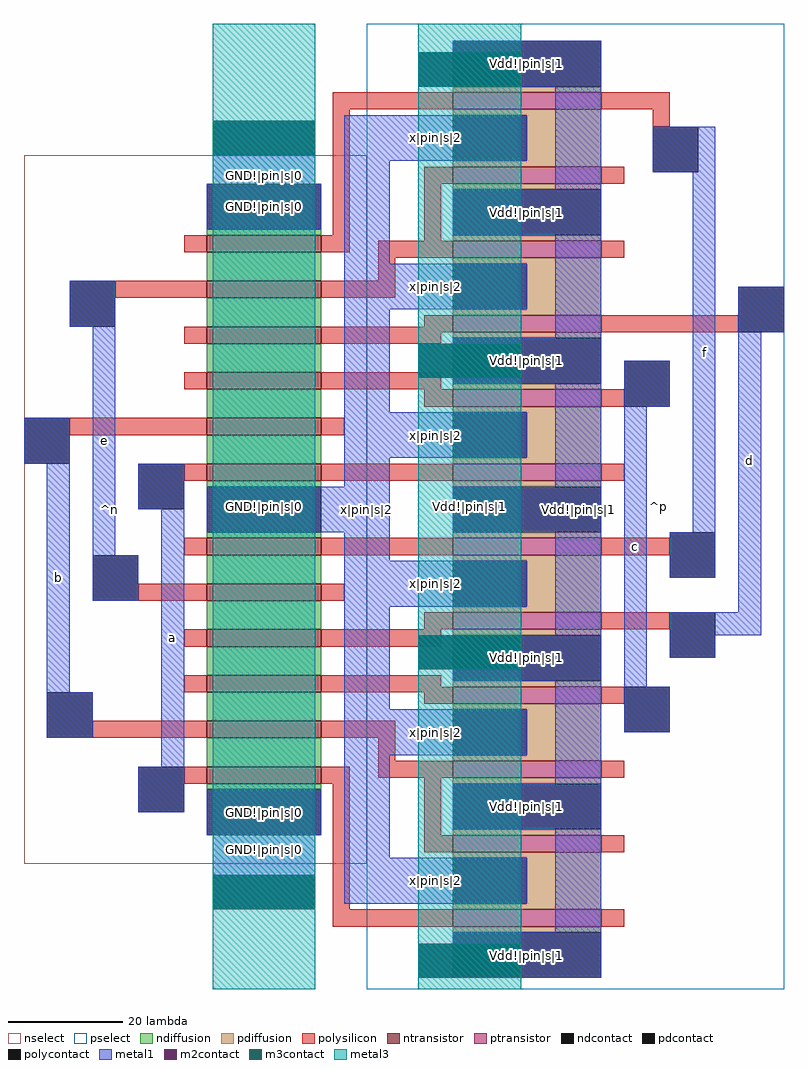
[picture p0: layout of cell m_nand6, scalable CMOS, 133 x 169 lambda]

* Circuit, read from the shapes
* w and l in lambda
.subckt m_nand6 GND!|pin|s|0 Vdd!|pin|s|1 a b c d e f x|pin|s|2
M1 n1 a GND!|pin|s|0 VSUBS nfet w=20 l=3
M2 n2 b n1 VSUBS nfet w=20 l=3
M3 n3 c n2 VSUBS nfet w=20 l=3
M4 n4 d n3 VSUBS nfet w=20 l=3
M5 n5 e n4 VSUBS nfet w=20 l=3
M6 x|pin|s|2 f n5 VSUBS nfet w=20 l=3
M7 n6 a x|pin|s|2 VSUBS nfet w=20 l=3
M8 n7 b n6 VSUBS nfet w=20 l=3
M9 n8 c n7 VSUBS nfet w=20 l=3
M10 n9 d n8 VSUBS nfet w=20 l=3
M11 n10 e n9 VSUBS nfet w=20 l=3
M12 GND!|pin|s|0 f n10 VSUBS nfet w=20 l=3
M13 x|pin|s|2 a Vdd!|pin|s|1 NWELL pfet w=26 l=3 m=2
M14 Vdd!|pin|s|1 b x|pin|s|2 NWELL pfet w=26 l=3 m=2
M15 Vdd!|pin|s|1 c x|pin|s|2 NWELL pfet w=26 l=3 m=2
M16 x|pin|s|2 d Vdd!|pin|s|1 NWELL pfet w=26 l=3 m=2
M17 Vdd!|pin|s|1 f x|pin|s|2 NWELL pfet w=26 l=3 m=2
M18 Vdd!|pin|s|1 e x|pin|s|2 NWELL pfet w=26 l=3 m=2
.ends

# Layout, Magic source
magic
tech scmos
<< nselect >>
rect -60 -815 0 -691
<< pselect >>
rect 0 -837 73 -668
<< ndiffusion >>
rect -28 -705 -8 -704
rect -28 -713 -8 -708
rect -28 -721 -8 -716
rect -28 -729 -8 -724
rect -28 -737 -8 -732
rect -28 -745 -8 -740
rect -28 -749 -8 -748
rect -28 -758 -8 -757
rect -28 -766 -8 -761
rect -28 -774 -8 -769
rect -28 -782 -8 -777
rect -28 -790 -8 -785
rect -28 -798 -8 -793
rect -28 -802 -8 -801
<< pdiffusion >>
rect 15 -680 41 -679
rect 15 -684 41 -683
rect 28 -692 41 -684
rect 15 -693 41 -692
rect 15 -697 41 -696
rect 15 -706 41 -705
rect 15 -710 41 -709
rect 28 -718 41 -710
rect 15 -719 41 -718
rect 15 -723 41 -722
rect 15 -732 41 -731
rect 15 -736 41 -735
rect 28 -744 41 -736
rect 15 -745 41 -744
rect 15 -749 41 -748
rect 15 -758 41 -757
rect 15 -762 41 -761
rect 28 -770 41 -762
rect 15 -771 41 -770
rect 15 -775 41 -774
rect 15 -784 41 -783
rect 15 -788 41 -787
rect 28 -796 41 -788
rect 15 -797 41 -796
rect 15 -801 41 -800
rect 15 -810 41 -809
rect 15 -814 41 -813
rect 28 -822 41 -814
rect 15 -823 41 -822
rect 15 -827 41 -826
<< ntransistor >>
rect -28 -708 -8 -705
rect -28 -716 -8 -713
rect -28 -724 -8 -721
rect -28 -732 -8 -729
rect -28 -740 -8 -737
rect -28 -748 -8 -745
rect -28 -761 -8 -758
rect -28 -769 -8 -766
rect -28 -777 -8 -774
rect -28 -785 -8 -782
rect -28 -793 -8 -790
rect -28 -801 -8 -798
<< ptransistor >>
rect 15 -683 41 -680
rect 15 -696 41 -693
rect 15 -709 41 -706
rect 15 -722 41 -719
rect 15 -735 41 -732
rect 15 -748 41 -745
rect 15 -761 41 -758
rect 15 -774 41 -771
rect 15 -787 41 -784
rect 15 -800 41 -797
rect 15 -813 41 -810
rect 15 -826 41 -823
<< polysilicon >>
rect -6 -683 15 -680
rect 41 -683 53 -680
rect -6 -705 -3 -683
rect 50 -686 53 -683
rect -32 -708 -28 -705
rect -8 -708 -3 -705
rect 10 -696 15 -693
rect 41 -696 45 -693
rect 10 -706 13 -696
rect 2 -709 15 -706
rect 41 -709 45 -706
rect 2 -713 5 -709
rect -44 -716 -28 -713
rect -8 -716 5 -713
rect 10 -721 15 -719
rect -32 -724 -28 -721
rect -8 -722 15 -721
rect 41 -722 65 -719
rect -8 -724 13 -722
rect -32 -732 -28 -729
rect -8 -732 13 -729
rect 10 -735 15 -732
rect 41 -735 45 -732
rect -52 -740 -28 -737
rect -8 -740 -4 -737
rect -32 -748 -28 -745
rect -8 -748 15 -745
rect 41 -748 45 -745
rect -32 -761 -28 -758
rect -8 -761 15 -758
rect 41 -761 53 -758
rect -40 -769 -28 -766
rect -8 -769 -4 -766
rect 10 -774 15 -771
rect 41 -774 53 -771
rect -32 -777 -28 -774
rect -8 -777 13 -774
rect -32 -785 -28 -782
rect -8 -784 13 -782
rect -8 -785 15 -784
rect 10 -787 15 -785
rect 41 -787 45 -784
rect -48 -793 -28 -790
rect -8 -793 5 -790
rect 2 -797 5 -793
rect -32 -801 -28 -798
rect -8 -801 -3 -798
rect 2 -800 15 -797
rect 41 -800 45 -797
rect -6 -823 -3 -801
rect 10 -810 13 -800
rect 10 -813 15 -810
rect 41 -813 45 -810
rect -6 -826 15 -823
rect 41 -826 45 -823
<< ndcontact >>
rect -28 -704 -8 -696
rect -28 -757 -8 -749
rect -28 -810 -8 -802
<< pdcontact >>
rect 15 -679 41 -671
rect 15 -692 28 -684
rect 15 -705 41 -697
rect 15 -718 28 -710
rect 15 -731 41 -723
rect 15 -744 28 -736
rect 15 -757 41 -749
rect 15 -770 28 -762
rect 15 -783 41 -775
rect 15 -796 28 -788
rect 15 -809 41 -801
rect 15 -822 28 -814
rect 15 -835 41 -827
<< polycontact >>
rect 50 -694 58 -686
rect -52 -721 -44 -713
rect 65 -722 73 -714
rect 45 -735 53 -727
rect -60 -745 -52 -737
rect -40 -753 -32 -745
rect -48 -769 -40 -761
rect 53 -765 61 -757
rect 53 -779 61 -771
rect -56 -793 -48 -785
rect 45 -792 53 -784
rect -40 -806 -32 -798
<< metal1 >>
rect 15 -673 41 -671
rect 27 -679 41 -673
rect -27 -696 -9 -691
rect -4 -692 28 -684
rect -28 -704 -8 -696
rect -4 -710 4 -692
rect 33 -697 41 -679
rect 50 -694 61 -686
rect 15 -705 41 -697
rect -52 -721 -44 -713
rect -60 -745 -52 -737
rect -56 -785 -52 -745
rect -48 -761 -44 -721
rect -4 -718 28 -710
rect -4 -736 4 -718
rect 33 -723 41 -705
rect 15 -724 41 -723
rect 27 -730 41 -724
rect 15 -731 41 -730
rect -4 -744 28 -736
rect -40 -753 -32 -745
rect -4 -749 4 -744
rect 33 -749 41 -731
rect -48 -769 -40 -761
rect -56 -793 -48 -785
rect -36 -798 -32 -753
rect -28 -757 4 -749
rect 15 -757 41 -749
rect -40 -806 -32 -798
rect -4 -762 4 -757
rect -4 -770 28 -762
rect -4 -788 4 -770
rect 33 -775 41 -757
rect 27 -781 41 -775
rect 15 -783 41 -781
rect -4 -796 28 -788
rect -28 -810 -8 -802
rect -27 -817 -9 -810
rect -4 -814 4 -796
rect 33 -801 41 -783
rect 45 -735 53 -727
rect 45 -784 49 -735
rect 57 -757 61 -694
rect 53 -765 61 -757
rect 65 -722 73 -714
rect 65 -771 69 -722
rect 53 -775 69 -771
rect 53 -779 61 -775
rect 45 -792 53 -784
rect 15 -809 41 -801
rect -4 -822 28 -814
rect 33 -827 41 -809
rect 15 -829 41 -827
rect 27 -835 41 -829
<< m2contact >>
rect 9 -679 27 -673
rect -27 -691 -9 -685
rect 9 -730 27 -724
rect 9 -781 27 -775
rect -27 -823 -9 -817
rect 9 -835 27 -829
<< m3contact >>
rect 9 -679 27 -673
rect -27 -691 -9 -685
rect 9 -730 27 -724
rect 9 -781 27 -775
rect -27 -823 -9 -817
rect 9 -835 27 -829
<< metal3 >>
rect -27 -837 -9 -668
rect 9 -837 27 -668
<< labels >>
rlabel metal1 -48 -769 -44 -713 1 e
rlabel metal1 -36 -806 -32 -745 1 a
rlabel metal1 -56 -793 -52 -737 3 b
rlabel space -62 -820 -28 -686 7 ^n
rlabel metal1 45 -792 49 -727 1 c
rlabel metal1 65 -775 69 -714 1 d
rlabel metal1 57 -765 61 -686 1 f
rlabel space 28 -837 74 -668 3 ^p
rlabel metal3 -27 -837 -9 -668 1 GND!|pin|s|0
rlabel metal1 -28 -704 -8 -696 1 GND!|pin|s|0
rlabel metal1 -28 -810 -8 -802 1 GND!|pin|s|0
rlabel metal1 -27 -823 -9 -802 1 GND!|pin|s|0
rlabel metal1 -27 -704 -9 -685 1 GND!|pin|s|0
rlabel metal3 9 -837 27 -668 1 Vdd!|pin|s|1
rlabel metal1 15 -679 41 -671 1 Vdd!|pin|s|1
rlabel metal1 15 -705 41 -697 1 Vdd!|pin|s|1
rlabel metal1 15 -731 41 -723 1 Vdd!|pin|s|1
rlabel metal1 15 -757 41 -749 1 Vdd!|pin|s|1
rlabel metal1 15 -783 41 -775 1 Vdd!|pin|s|1
rlabel metal1 15 -809 41 -801 1 Vdd!|pin|s|1
rlabel metal1 15 -835 41 -827 1 Vdd!|pin|s|1
rlabel metal1 33 -835 41 -671 1 Vdd!|pin|s|1
rlabel metal1 -4 -822 4 -684 1 x|pin|s|2
rlabel metal1 -4 -692 28 -684 1 x|pin|s|2
rlabel metal1 -4 -718 28 -710 1 x|pin|s|2
rlabel metal1 -4 -744 28 -736 1 x|pin|s|2
rlabel metal1 -28 -757 4 -749 1 x|pin|s|2
rlabel metal1 -4 -770 28 -762 1 x|pin|s|2
rlabel metal1 -4 -796 28 -788 1 x|pin|s|2
rlabel metal1 -4 -822 28 -814 1 x|pin|s|2
<< end >>
